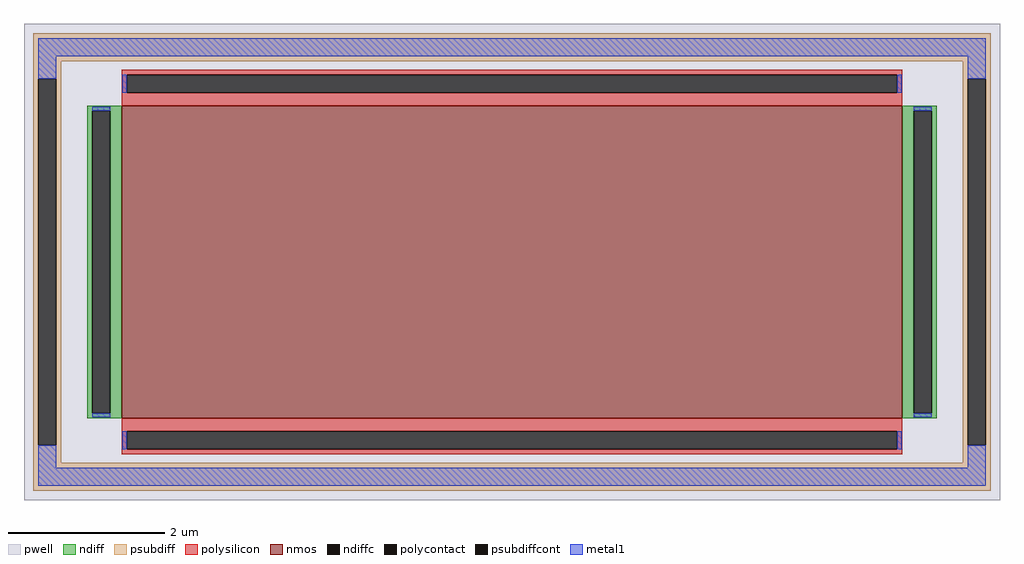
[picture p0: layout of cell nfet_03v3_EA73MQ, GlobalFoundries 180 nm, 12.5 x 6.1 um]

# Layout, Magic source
magic
tech gf180mcuD
magscale 1 10
<< pwell >>
rect -1250 -610 1250 610
<< nmos >>
rect -1000 -400 1000 400
<< ndiff >>
rect -1088 387 -1000 400
rect -1088 -387 -1075 387
rect -1029 -387 -1000 387
rect -1088 -400 -1000 -387
rect 1000 387 1088 400
rect 1000 -387 1029 387
rect 1075 -387 1088 387
rect 1000 -400 1088 -387
<< ndiffc >>
rect -1075 -387 -1029 387
rect 1029 -387 1075 387
<< psubdiff >>
rect -1226 514 1226 586
rect -1226 470 -1154 514
rect -1226 -470 -1213 470
rect -1167 -470 -1154 470
rect 1154 470 1226 514
rect -1226 -514 -1154 -470
rect 1154 -470 1167 470
rect 1213 -470 1226 470
rect 1154 -514 1226 -470
rect -1226 -586 1226 -514
<< psubdiffcont >>
rect -1213 -470 -1167 470
rect 1167 -470 1213 470
<< polysilicon >>
rect -1000 479 1000 492
rect -1000 433 -987 479
rect 987 433 1000 479
rect -1000 400 1000 433
rect -1000 -433 1000 -400
rect -1000 -479 -987 -433
rect 987 -479 1000 -433
rect -1000 -492 1000 -479
<< polycontact >>
rect -987 433 987 479
rect -987 -479 987 -433
<< metal1 >>
rect -1213 527 1213 573
rect -1213 470 -1167 527
rect -998 433 -987 479
rect 987 433 998 479
rect 1167 470 1213 527
rect -1075 387 -1029 398
rect -1075 -398 -1029 -387
rect 1029 387 1075 398
rect 1029 -398 1075 -387
rect -1213 -527 -1167 -470
rect -998 -479 -987 -433
rect 987 -479 998 -433
rect 1167 -527 1213 -470
rect -1213 -573 1213 -527
<< properties >>
string FIXED_BBOX -1190 -550 1190 550
string gencell nfet_03v3
string library gf180mcu
string parameters w 4.0 l 10.0 m 1 nf 1 diffcov 100 polycov 100 guard 1 glc 1 grc 1 gtc 0 gbc 0 tbcov 100 rlcov 100 topc 1 botc 1 poverlap 0 doverlap 1 lmin 0.28 wmin 0.22 class mosfet full_metal 1 compatible {nfet_03v3 nfet_06v0 nfet_06v0_nvt} ad {int((nf+1)/2) * W/nf * 0.18u} as {int((nf+2)/2) * W/nf * 0.18u} pd {2*int((nf+1)/2) * (W/nf + 0.18u)} ps {2*int((nf+2)/2) * (W/nf + 0.18u)} nrd {0.18u / W} nrs {0.18u / W} sa 0 sb 0 sd 0
<< end >>
